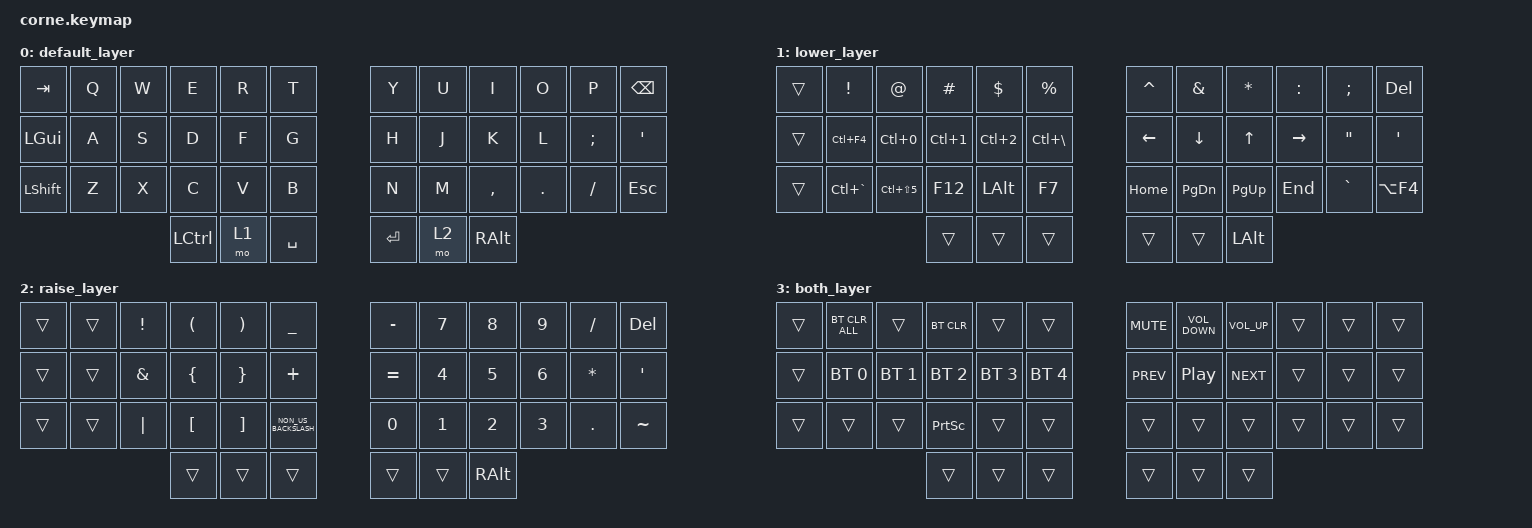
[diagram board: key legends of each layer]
/*
 * Copyright (c) 2020 The ZMK Contributors
 *
 * SPDX-License-Identifier: MIT
 */

#include <behaviors.dtsi>
#include <dt-bindings/zmk/bt.h>
#include <dt-bindings/zmk/keys.h>


/ {
    keymap {
        compatible = "zmk,keymap";

        default_layer {
            // -----------------------------------------------------------------------------------------
            // |  TAB |  Q  |  W  |  E  |  R  |  T  |   |  Y  |  U   |  I  |  O  |  P  | BKSP |
            // | CTRL |  A  |  S  |  D  |  F  |  G  |   |  H  |  J   |  K  |  L  |  ;  |  '   |
            // | SHFT |  Z  |  X  |  C  |  V  |  B  |   |  N  |  M   |  ,  |  .  |  /  | ESC  |
            //                    | GUI | LWR | SPC |   | ENT | RSE  | ALT |

            bindings = <
&kp TAB    &kp Q  &kp W  &kp E      &kp R  &kp T        &kp Y    &kp U  &kp I      &kp O    &kp P     &kp BSPC
&kp LGUI   &kp A  &kp S  &kp D      &kp F  &kp G        &kp H    &kp J  &kp K      &kp L    &kp SEMI  &kp SQT
&kp LSHFT  &kp Z  &kp X  &kp C      &kp V  &kp B        &kp N    &kp M  &kp COMMA  &kp DOT  &kp FSLH  &kp ESC
                         &kp LCTRL  &mo 1  &kp SPACE    &kp RET  &mo 2  &kp RALT
            >;
        };

        lower_layer {
            // -----------------------------------------------------------------------------------------
            // |  TAB |  1  |  2  |  3  |  4  |  5  |   |  6  |  7  |  8  |  9  |  0  | BKSP |
            // | BTCLR| BT1 | BT2 | BT3 | BT4 | BT5 |   | LFT | DWN |  UP | RGT |     |      |
            // | SHFT |     |     |     |     |     |   |     |     |     |     |     |      |
            //                    | GUI |     | SPC |   | ENT |     | ALT |

            bindings = <
&trans  &kp EXCLAMATION  &kp AT_SIGN           &kp HASH          &kp DOLLAR        &kp PERCENT          &kp CARET  &kp AMPERSAND  &kp ASTERISK  &kp COLON  &kp SEMICOLON      &kp DEL
&trans  &kp LC(F4)       &kp LC(NUMBER_0)      &kp LC(NUMBER_1)  &kp LC(NUMBER_2)  &kp LC(BACKSLASH)    &kp LEFT   &kp DOWN       &kp UP        &kp RIGHT  &kp DOUBLE_QUOTES  &kp SQT
&trans  &kp LC(GRAVE)    &kp LC(LS(NUMBER_5))  &kp F12           &kp LEFT_ALT      &kp F7               &kp HOME   &kp PAGE_DOWN  &kp PAGE_UP   &kp END    &kp GRAVE          &kp LA(F4)
                                               &trans            &trans            &trans               &trans     &trans         &kp LEFT_ALT
            >;
        };

        raise_layer {
            // -----------------------------------------------------------------------------------------
            // |  TAB |  !  |  @  |  #  |  $  |  %  |   |  ^  |  &  |  *  |  (  |  )  | BKSP |
            // | CTRL |     |     |     |     |     |   |  -  |  =  |  [  |  ]  |  \  |  `   |
            // | SHFT |     |     |     |     |     |   |  _  |  +  |  {  |  }  | "|" |  ~   |
            //                    | GUI |     | SPC |   | ENT |     | ALT |

            bindings = <
&trans  &trans  &kp EXCLAMATION  &kp LEFT_PARENTHESIS  &kp RIGHT_PARENTHESIS  &kp UNDERSCORE          &kp MINUS     &kp NUMBER_7  &kp NUMBER_8  &kp NUMBER_9  &kp SLASH     &kp DEL
&trans  &trans  &kp AMPERSAND    &kp LEFT_BRACE        &kp RIGHT_BRACE        &kp PLUS                &kp EQUAL     &kp NUMBER_4  &kp NUMBER_5  &kp NUMBER_6  &kp ASTERISK  &kp SQT
&trans  &trans  &kp PIPE         &kp LEFT_BRACKET      &kp RIGHT_BRACKET      &kp NON_US_BACKSLASH    &kp NUMBER_0  &kp NUMBER_1  &kp NUMBER_2  &kp NUMBER_3  &kp PERIOD    &kp TILDE
                                 &trans                &trans                 &trans                  &trans        &trans        &kp RALT
            >;
        };

        both_layer {
            bindings = <
&trans  &bt BT_CLR_ALL  &trans        &bt BT_CLR       &trans        &trans          &kp C_MUTE  &kp C_VOLUME_DOWN  &kp C_VOLUME_UP  &trans  &trans  &trans
&trans  &bt BT_SEL 0    &bt BT_SEL 1  &bt BT_SEL 2     &bt BT_SEL 3  &bt BT_SEL 4    &kp C_PREV  &kp C_PLAY_PAUSE   &kp C_NEXT       &trans  &trans  &trans
&trans  &trans          &trans        &kp PRINTSCREEN  &trans        &trans          &trans      &trans             &trans           &trans  &trans  &trans
                                      &trans           &trans        &trans          &trans      &trans             &trans
            >;
        };
    };

    conditional_layers {
        compatible = "zmk,conditional-layers";

        Both {
            if-layers = <1 2>;
            then-layer = <3>;
        };
    };
};
